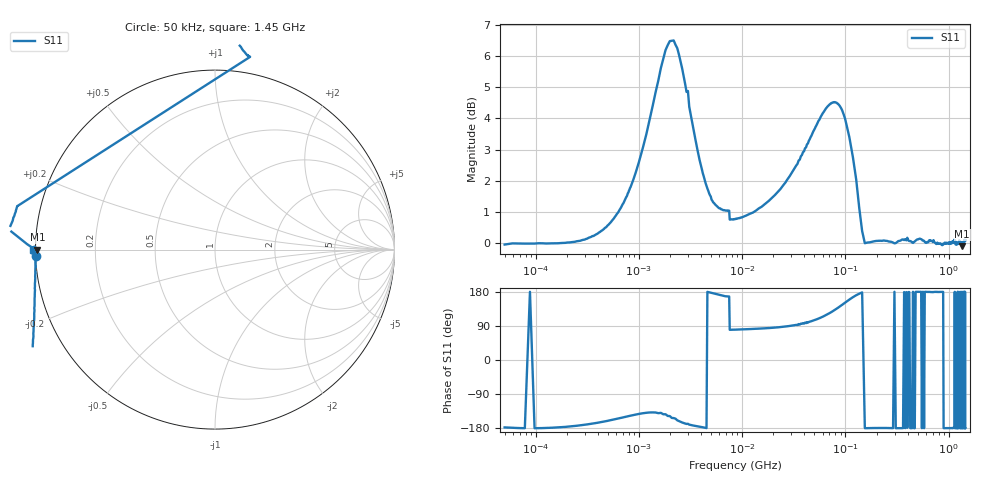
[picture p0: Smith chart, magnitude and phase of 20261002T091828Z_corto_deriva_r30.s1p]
! piloto_deriva / corto_deriva / r30
# HZ S RI R 50
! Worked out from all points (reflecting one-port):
!   501 points, 50 kHz to 1.45 GHz, reference 50 ohm
!   lowest |S11| = -0.1 dB at 1.351 GHz (marker M1), VSWR 193.52, Z = 0.258 - j0.0186 ohm
!   phase of S11 starts at -178 deg and turns -2 deg over the sweep
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50000  -0.9949 -0.037
183000  -1 -0.052
373000  -1.004 -0.2338
658000  -1.014 -0.5101
1180000  -1.134 -0.9763
1630000  -1.451 -1.239
1990000  -1.787 -1.117
2440000  -1.899 -0.6444
2710000  -1.801 -0.4376
3250000  -1.557 -0.2156
4330000  -1.263 -0.03
7300000  -1.102 0.2419
7750000  0.1938 1.075
8560000  0.1873 1.077
1.9e7  0.1095 1.173
3.16e7  -0.0364 1.313
4.51e7  -0.2817 1.441
6.76e7  -0.8605 1.418
7.93e7  -1.14 1.239
9.37e7  -1.356 0.8987
9.82e7  -1.385 0.7827
1e8  -1.391 0.7375
1.18e8  -1.332 0.3397
1.36e8  -1.134 0.1002
1.63e8  -1.003 -0.00419
4.06e8  -1.01 0.0148
1.351e9  -0.9897 -0.000735
1.45e9  -1.012 -0.00401
